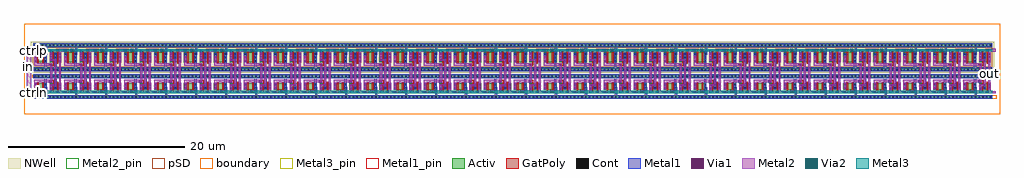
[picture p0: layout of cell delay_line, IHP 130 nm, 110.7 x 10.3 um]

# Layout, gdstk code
import gdstk
lib = gdstk.Library(unit=1e-6, precision=1e-09)
def R(c, l, rs):  # rectangles x0, y0, x1, y1
    for r in rs: c.add(gdstk.rectangle(r[:2], r[2:], *l))
def A(c, l, x, y, w, h, nx, ny, dx, dy):  # array of equal rectangles
    R(c, l, [(x+i*dx, y+j*dy, x+i*dx+w, y+j*dy+h) for i in range(nx) for j in range(ny)])
def P(c, l, *ps):  # polygons
    for p in ps: c.add(gdstk.Polygon(p, *l))
Activ = (1, 0)
GatPoly = (5, 0)
Cont = (6, 0)
Metal1 = (8, 0)
Metal1_pin = (8, 2)
Metal2 = (10, 0)
Metal2_pin = (10, 2)
pSD = (14, 0)
Via1 = (19, 0)
Via2 = (29, 0)
Metal3 = (30, 0)
Metal3_pin = (30, 2)
NWell = (31, 0)
boundary = (189, 4)

delay_cell = lib.new_cell('delay_cell')
R(delay_cell, Activ, [(0,-0.15,3.4,0.15), (0.115,0.795,1.575,1.535), (1.885,0.795,3.205,1.535), (0,2.195,3.4,2.495), (0,2.975,3.4,3.275), (0.115,3.935,1.575,5.055), (1.885,3.935,3.205,5.055), (0,5.715,3.4,6.015)])
P(delay_cell, GatPoly, [(0.115,0.405),(0.115,0.705),(0.455,0.705),(0.455,1.715),(0.655,1.715),(0.655,0.405)],
  [(0.455,3.755),(0.455,5.145),(0.115,5.145),(0.115,5.445),(0.655,5.445),(0.655,3.755)],
  [(1.885,3.545),(1.885,3.845),(2.225,3.845),(2.225,5.235),(2.355,5.235),(2.355,3.545)],
  [(0.935,0.405),(0.935,0.705),(1.035,0.705),(1.035,1.715),(1.235,1.715),(1.235,0.405)],
  [(2.735,3.755),(2.735,5.145),(2.65,5.145),(2.65,5.445),(2.95,5.445),(2.95,5.145),(2.865,5.145),(2.865,3.755)],
  [(1.035,3.755),(1.035,5.145),(0.935,5.145),(0.935,5.445),(1.235,5.445),(1.235,3.755)],
  [(2.225,0.615),(2.225,1.625),(1.885,1.625),(1.885,1.925),(2.355,1.925),(2.355,0.615)],
  [(2.65,0.42),(2.65,0.72),(2.735,0.72),(2.735,1.73),(2.865,1.73),(2.865,0.72),(2.95,0.72),(2.95,0.42)])
A(delay_cell, Cont, 0.13, -0.08, 0.16, 0.16, 8, 2, 0.425, 2.345)
A(delay_cell, Cont, 0.13, 3.045, 0.16, 0.16, 8, 2, 0.425, 2.74)
A(delay_cell, Cont, 0.185, 4.005, 0.16, 0.16, 1, 3, 0, 0.385)
R(delay_cell, Cont, [(0.185,0.475,0.345,0.635), (1.005,0.475,1.165,0.635), (1.005,0.475,1.165,0.635), (2.72,0.49,2.88,0.65), (1.955,0.865,2.115,1.025), (0.185,0.965,0.345,1.125), (1.345,0.965,1.505,1.125), (2.465,0.965,2.625,1.125), (2.975,0.965,3.135,1.125), (1.955,1.205,2.115,1.365), (0.185,1.305,0.345,1.465), (1.345,1.305,1.505,1.465), (2.465,1.305,2.625,1.465), (2.975,1.305,3.135,1.465), (1.955,1.695,2.115,1.855), (1.955,3.615,2.115,3.775), (1.345,4.005,1.505,4.165), (2.465,4.005,2.625,4.165), (2.975,4.005,3.135,4.165), (1.955,4.13,2.115,4.29), (1.345,4.415,1.505,4.575), (2.465,4.415,2.625,4.575), (2.975,4.415,3.135,4.575), (1.955,4.475,2.115,4.635), (1.345,4.775,1.505,4.935), (2.465,4.775,2.625,4.935), (2.975,4.775,3.135,4.935), (1.955,4.825,2.115,4.985), (0.185,5.215,0.345,5.375), (1.005,5.215,1.165,5.375), (1.005,5.215,1.165,5.375), (2.72,5.215,2.88,5.375)])
R(delay_cell, Metal1, [(0.81,0.41,1.175,0.7), (0.05,0.425,0.405,0.685), (0.12,0.9,0.41,1.6), (2.925,0.9,3.185,1.6), (1.805,1.63,2.18,1.92), (1.805,3.55,2.18,3.84), (2.91,3.935,3.2,4.985), (0.12,3.94,0.41,4.945), (0.03,5.15,0.41,5.44), (0.81,5.15,1.175,5.44), (0.81,5.15,1.175,5.44)])
P(delay_cell, Metal1, [(0,2.905),(0,3.345),(1.295,3.345),(1.295,4.985),(1.385,4.985),(1.385,5.645),(0,5.645),(0,6.085),(3.4,6.085),(3.4,5.645),(1.635,5.645),(1.635,4.805),(1.555,4.805),(1.555,3.345),(2.415,3.345),(2.415,4.985),(2.66,4.985),(2.66,3.345),(3.4,3.345),(3.4,2.905)],
  [(0,-0.22),(0,0.22),(1.385,0.22),(1.385,0.86),(1.295,0.86),(1.295,2.125),(0,2.125),(0,2.565),(3.4,2.565),(3.4,2.125),(2.675,2.125),(2.675,0.9),(2.415,0.9),(2.415,2.125),(1.555,2.125),(1.555,1.125),(1.635,1.125),(1.635,0.22),(3.4,0.22),(3.4,-0.22)],
  [(1.905,0.44),(1.905,1.43),(2.165,1.43),(2.165,0.7),(2.93,0.7),(2.93,0.44)],
  [(1.89,4.065),(1.89,5.425),(2.93,5.425),(2.93,5.165),(2.18,5.165),(2.18,4.065)])
R(delay_cell, Metal2, [(0.8,0.445,1.35,0.75), (0.8,5.1,1.35,5.405), (0.8,5.1,1.35,5.405)])
P(delay_cell, Metal2, [(2.91,0.41),(2.91,1.625),(2.945,1.625),(2.945,3.935),(2.91,3.935),(2.91,5.44),(3.81,5.44),(3.81,5.15),(3.2,5.15),(3.2,3.935),(3.165,3.935),(3.165,1.615),(3.2,1.615),(3.2,0.665),(3.805,0.665),(3.805,0.41)],
  [(0.12,0.92),(0.12,1.94),(1.945,1.94),(1.945,3.55),(0.12,3.55),(0.12,4.64),(0.41,4.64),(0.41,3.805),(2.18,3.805),(2.18,1.665),(0.41,1.665),(0.41,0.92)],
  [(1.89,0.73),(1.89,1.43),(2.43,1.43),(2.43,4.08),(1.89,4.08),(1.89,5.035),(2.18,5.035),(2.18,4.3),(2.65,4.3),(2.65,1.195),(2.18,1.195),(2.18,0.73)])
R(delay_cell, pSD, [(-0.07,-0.18,3.91,0.18), (-0.07,2.165,3.91,2.525), (-0.065,3.36,3.385,5.615)])
R(delay_cell, Via1, [(0.165,0.46,0.355,0.65), (0.975,0.46,1.165,0.65), (1.94,0.78,2.13,0.97), (0.17,0.95,0.36,1.14), (2.96,0.95,3.15,1.14), (1.94,1.19,2.13,1.38), (0.17,1.36,0.36,1.55), (2.96,1.36,3.15,1.55), (1.94,1.68,2.13,1.87), (1.94,3.6,2.13,3.79), (0.17,3.99,0.36,4.18), (2.96,3.99,3.15,4.18), (1.94,4.115,2.13,4.305), (0.17,4.4,0.36,4.59), (2.96,4.4,3.15,4.59), (1.94,4.81,2.13,5), (0.17,5.2,0.36,5.39), (0.975,5.2,1.165,5.39), (0.975,5.2,1.165,5.39)])
R(delay_cell, Via2, [(0.975,0.46,1.165,0.65), (0.975,5.2,1.165,5.39)])
P(delay_cell, Metal3, [(0.925,0.41),(0.925,0.435),(0,0.435),(0,0.675),(0.925,0.675),(0.925,0.725),(1.215,0.725),(1.215,0.675),(3.4,0.675),(3.4,0.435),(1.215,0.435),(1.215,0.41)],
  [(0.925,5.15),(0.925,5.175),(0,5.175),(0,5.415),(0.925,5.415),(0.925,5.465),(1.215,5.465),(1.215,5.415),(3.4,5.415),(3.4,5.175),(1.215,5.175),(1.215,5.15)])
R(delay_cell, NWell, [(-0.24,2.735,3.64,6.255)])
delay_cell.add(gdstk.Label('VDD', (0.065,3.32), layer=8, texttype=25))
delay_cell.add(gdstk.Label('VSS', (0.07,2.525), layer=8, texttype=25))
delay_cell.add(gdstk.Label('VSS', (0.03,0.195), layer=8, texttype=25))
delay_cell.add(gdstk.Label('VDD', (0.055,5.985), layer=8, texttype=25))

delay_line = lib.new_cell('delay_line')
R(delay_line, Metal1_pin, [(-0.485,5.29,-0.06,5.67), (-0.495,8.795,-0.07,9.17)])
R(delay_line, Metal2, [(107.87,5.565,108.385,6.08)])
P(delay_line, Metal2, [(-1.22,3.13),(-1.22,8.66),(-0.065,8.66),(-0.065,8.15),(-0.725,8.15),(-0.725,3.82),(-0.07,3.82),(-0.07,3.47),(-0.725,3.47),(-0.725,3.13)])
R(delay_line, Metal2_pin, [(107.885,5.655,108.24,6.03), (-1.125,6.47,-0.77,6.845)])
R(delay_line, Metal3_pin, [(-0.49,3.57,-0.055,3.78), (-0.485,8.315,-0.05,8.525)])
R(delay_line, boundary, [(-1.53,1.14,109.165,11.44)])
r = gdstk.Reference(delay_cell, (-0.5,3.12)); r.repetition = gdstk.Repetition(32, 1, v1=(3.4,0), v2=(0,0)); delay_line.add(r)
delay_line.add(gdstk.Label('ctrlp', (-0.435,8.42), layer=30, texttype=25))
delay_line.add(gdstk.Label('ctrln', (-0.44,3.675), layer=30, texttype=25))
delay_line.add(gdstk.Label('in', (-1.005,6.6), layer=10, texttype=25))
delay_line.add(gdstk.Label('out', (108.005,5.785), layer=10, texttype=25))

lib.write_gds('delay_line.gds')
